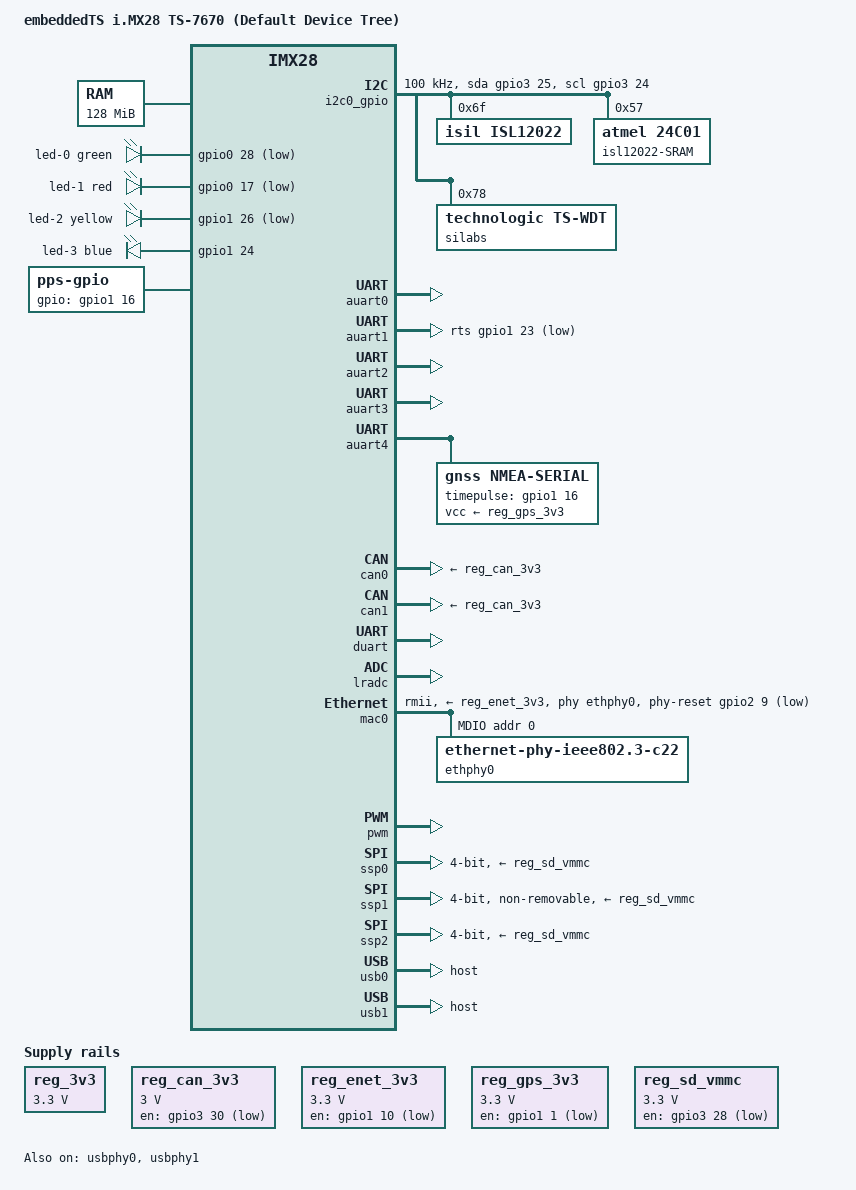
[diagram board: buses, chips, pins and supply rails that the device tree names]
// SPDX-License-Identifier: GPL-2.0 OR X11
/*
 * Copyright (C) 2019-2023 Technologic Systems, Inc. dba embeddedTS <support@embeddedTS.com>
 */

/dts-v1/;
#include <dt-bindings/input/input.h>
#include <dt-bindings/leds/common.h>
#include "imx28.dtsi"

/ {

	model = "embeddedTS i.MX28 TS-7670 (Default Device Tree)";
	compatible = "fsl,imx28-ts7670", "fsl,imx28";

	aliases {
		i2c0 = &i2c0_gpio;
	};

	i2c0_gpio: i2c {
		compatible = "i2c-gpio";
		pinctrl-names = "default";
		pinctrl-0 = <&i2c0_pins_gpio>;
		#address-cells = <1>;
		#size-cells = <0>;
		scl-gpios = <&gpio3 24 (GPIO_ACTIVE_HIGH | GPIO_OPEN_DRAIN)>;
		sda-gpios = <&gpio3 25 (GPIO_ACTIVE_HIGH | GPIO_OPEN_DRAIN)>;
		clock-frequency = <100000>;

		isl12022: rtc@6f {
			compatible = "isil,isl12022";
			btse-minutes = <1>;
			vb75t = <2>; /* 2.25 V */
			vb85t = <2>; /* 2.55 V */
			reg = <0x6f>;
		};

		isl12022_sram: eeprom@57 {
			compatible = "atmel,24c01";
			reg = <0x57>;
			label = "isl12022-SRAM";
			pagesize = <128>;
			size = <128>;
			address-width = <8>;
		};

		silabs: watchdog@78 {
			compatible = "technologic,ts-wdt";
			timeout-sec = <500>;
			enable-early;
			reg = <0x78>;
		};
	};

	memory {
		reg = <0x40000000 0x08000000>;   /* 128MB */
	};

	led-controller {
		pinctrl-names = "default";
		pinctrl-0 = <&pinctrl_gpio_leds>;
		compatible = "gpio-leds";

		led-0 {
			color = <LED_COLOR_ID_GREEN>;
			function = LED_FUNCTION_POWER;
			gpios = <&gpio0 28 GPIO_ACTIVE_LOW>;
			default-state = "on";
		};

		led-1 {
			color = <LED_COLOR_ID_RED>;
			function = LED_FUNCTION_INDICATOR;
			gpios = <&gpio0 17 GPIO_ACTIVE_LOW>;
			default-state = "off";
		};

		led-2 {
			color = <LED_COLOR_ID_YELLOW>;
			function = LED_FUNCTION_INDICATOR;
			gpios = <&gpio1 26 GPIO_ACTIVE_LOW>;
			default-state = "off";
		};

		led-3 {
			color = <LED_COLOR_ID_BLUE>;
			function = LED_FUNCTION_INDICATOR;
			gpios = <&gpio1 24 GPIO_ACTIVE_HIGH>;
			default-state = "off";
		};
	};

	pps {
		compatible = "pps-gpio";
		pinctrl-names = "default";
		pinctrl-0 = <&pinctrl_gps_pps>;
		gpios = <&gpio1 16 GPIO_ACTIVE_HIGH>;
	};

	reg_3v3: regulator-3v3 {
		compatible = "regulator-fixed";
		regulator-name = "3V3";
		regulator-min-microvolt = <3300000>;
		regulator-max-microvolt = <3300000>;
		regulator-always-on;
	};

	reg_can_3v3: regulator-can-en {
		pinctrl-names = "default";
		pinctrl-0 = <&pinctrl_flexcan_3v3>;
		compatible = "regulator-fixed";
		regulator-name = "CAN_EN";
		regulator-min-microvolt = <3000000>;
		regulator-max-microvolt = <3000000>;
		gpio = <&gpio3 30 GPIO_ACTIVE_LOW>;
	};

	reg_enet_3v3: regulator-enet-3v3 {
		pinctrl-names = "default";
		pinctrl-0 = <&mac0_pwr_ctrl>;
		compatible = "regulator-fixed";
		regulator-name = "ENET_3V3";
		regulator-min-microvolt = <3300000>;
		regulator-max-microvolt = <3300000>;
		gpio = <&gpio1 10 GPIO_ACTIVE_LOW>;
	};

	reg_gps_3v3: regulator-gps-3v3 {
		pinctrl-names = "default";
		pinctrl-0 = <&pinctrl_gps_3v3>;
		compatible = "regulator-fixed";
		regulator-name = "GPS_3V3";
		regulator-min-microvolt = <3300000>;
		regulator-max-microvolt = <3300000>;
		gpio = <&gpio1 1 GPIO_ACTIVE_LOW>;
	};

	reg_sd_vmmc: regulator-sd-vmmc {
		compatible = "regulator-fixed";
		pinctrl-names = "default";
		pinctrl-0 = <&sd_pwr_ctrl>;
		regulator-name = "SD_VMMC";
		regulator-min-microvolt = <3300000>;
		regulator-max-microvolt = <3300000>;
		regulator-boot-on;
		gpio = <&gpio3 28 GPIO_ACTIVE_LOW>;
	};
};

&auart0 {
	pinctrl-names = "default";
	pinctrl-0 = <&auart0_pins_a>;
	status = "okay";
};

&auart1 {
	pinctrl-names = "default";
	pinctrl-0 = <&auart1_2pins_gpio_rtscts>;
	rts-gpios = <&gpio1 23 GPIO_ACTIVE_LOW>;
	cts-gpios = <&gpio1 22 GPIO_ACTIVE_LOW>;
	status = "okay";
};

&auart2 {
	pinctrl-names = "default";
	pinctrl-0 = <&auart2_2pins_a>;
	status = "okay";
};

&auart3 {
	pinctrl-names = "default";
	pinctrl-0 = <&auart3_2pins_a>;
	status = "okay";
};

&auart4 {
	pinctrl-names = "default";
	pinctrl-0 = <&auart4_2pins>;
	status = "okay";

	gnss {
		compatible = "gnss,nmea-serial";
		current-speed = <9600>;
		vcc-supply = <&reg_gps_3v3>;
		timepulse-gpios = <&gpio1 16 GPIO_ACTIVE_HIGH>;
	};
};

&can0 {
	pinctrl-names = "default";
	pinctrl-0 = <&can0_pins_a>;
	xceiver-supply = <&reg_can_3v3>;
	status = "okay";
};

&can1 {
	pinctrl-names = "default";
	pinctrl-0 = <&can1_pins_a>;
	xceiver-supply = <&reg_can_3v3>;
	status = "okay";
};

&duart {
	pinctrl-names = "default";
	pinctrl-0 = <&duart_pins_a>;
	status = "okay";
};

&gpio0 {
	gpio-line-names = "", "", "", "", "", "HD2_8", "HD2_6", "STRAP_1";
};

&gpio1 {
	gpio-line-names = "", "", "", "", "", "", "", "DC_DIO_4", "DC_DIO_5",
		"DC_DIO_6", "", "STRAP_4", "", "EN_MODBUS_24V", "MODBUS_FAULT",
		"EN_MODBUS_3V#", "", "", "HD2_7", "STRAP_3", "PUSH_SW#",
		"STRAP_2", "", "", "", "EN_232_TRANS", "", "EN_HOST_USB_5V";
};

&lradc {
	status = "okay";
};

&mac0 {
	phy-mode = "rmii";
	pinctrl-names = "default";
	pinctrl-0 = <&mac0_pins>;
	phy-supply = <&reg_enet_3v3>;
	phy-handle = <&ethphy0>;
	phy-reset-gpios = <&gpio2 9 GPIO_ACTIVE_LOW>;
	phy-reset-duration = <100>;
	phy-reset-post-delay = <1>;
	status = "okay";

	mdio {
		#address-cells = <1>;
		#size-cells = <0>;

		ethphy0: ethernet-phy@0 {
			compatible = "ethernet-phy-ieee802.3-c22";
			/* magic number "64" is enet out from CPU */
			clocks = <&clks 64>;
			clock-names = "rmii-ref";
			reg = <0>;
		};
	};
};

&pinctrl {
	pinctrl-names = "default";
	pinctrl-0 = <&pinctrl_hog &pinctrl_hog_keeperonly>;

	pinctrl_hog: hog-pins@0 {
		reg = <0>;
		fsl,pinmux-ids = <
			/* Option strap 1 */
			MX28_PAD_GPMI_D07__GPIO_0_7
			/* HD2 pin 4,6,8 */
			MX28_PAD_GPMI_CE0N__GPIO_0_16
			MX28_PAD_GPMI_D06__GPIO_0_6
			MX28_PAD_GPMI_D05__GPIO_0_5
		>;
		fsl,drive-strength = <MXS_DRIVE_4mA>;
		fsl,voltage = <MXS_VOLTAGE_HIGH>;
		fsl,pull-up = <MXS_PULL_ENABLE>;
	};

	/*
	 * Pins that should be hogged, but only have an internal keeper, no
	 * pullup internally. Setting PULL_ENABLE on these will disable the
	 * internal keeper and then the pin, if an input, will be left floating.
	 */
	pinctrl_hog_keeperonly: hog-pins@1 {
		reg = <0>;
		fsl,pinmux-ids = <
			/* Push switch */
			MX28_PAD_LCD_D20__GPIO_1_20
			/* Boot strapping */
			MX28_PAD_LCD_D00__GPIO_1_0
			MX28_PAD_LCD_D02__GPIO_1_2
			MX28_PAD_LCD_D03__GPIO_1_3
			MX28_PAD_LCD_D04__GPIO_1_4
			MX28_PAD_LCD_D05__GPIO_1_5
			MX28_PAD_LCD_D06__GPIO_1_6
			/* DC DIO 4-6 */
			MX28_PAD_LCD_D07__GPIO_1_7
			MX28_PAD_LCD_D08__GPIO_1_8
			MX28_PAD_LCD_D09__GPIO_1_9
			/* Option strap 2-4 */
			MX28_PAD_LCD_D21__GPIO_1_21
			MX28_PAD_LCD_D19__GPIO_1_19
			MX28_PAD_LCD_D11__GPIO_1_11
			/* EN MODBUS 24 V */
			MX28_PAD_LCD_D13__GPIO_1_13
			/* MODBUS FAULT */
			MX28_PAD_LCD_D14__GPIO_1_14
			/* EN MODBUS 3V# */
			MX28_PAD_LCD_D15__GPIO_1_15
			/* HD2 pin 7 */
			MX28_PAD_LCD_D18__GPIO_1_18
			/* EN 232 transceiver */
			MX28_PAD_LCD_WR_RWN__GPIO_1_25
			/* USB 5V EN */
			MX28_PAD_LCD_CS__GPIO_1_27
		>;
		fsl,drive-strength = <MXS_DRIVE_4mA>;
		fsl,voltage = <MXS_VOLTAGE_HIGH>;
		/* This pin uses PULL_DISABLE == 0 == Enable Keeper */
		fsl,pull-up = <MXS_PULL_DISABLE>;
	};

	i2c0_pins_gpio: i2c-gpio-pins@0 {
		reg = <0>;
		fsl,pinmux-ids = <
			MX28_PAD_I2C0_SCL__GPIO_3_24
			MX28_PAD_I2C0_SDA__GPIO_3_25
		>;
		fsl,drive-strength = <MXS_DRIVE_8mA>;
		fsl,voltage = <MXS_VOLTAGE_HIGH>;
		/* This pin uses PULL_DISABLE == 0 == Enable Keeper */
		fsl,pull-up = <MXS_PULL_DISABLE>;
	};

	mmc0_4bit_pins: mmc0-4bit-pins@0 {
		reg = <0>;
		fsl,pinmux-ids = <
			MX28_PAD_SSP0_DATA0__SSP0_D0
			MX28_PAD_SSP0_DATA1__SSP0_D1
			MX28_PAD_SSP0_DATA2__SSP0_D2
			MX28_PAD_SSP0_DATA3__SSP0_D3
			MX28_PAD_SSP0_CMD__SSP0_CMD
			MX28_PAD_SSP0_SCK__SSP0_SCK
		>;
		fsl,drive-strength = <MXS_DRIVE_8mA>;
		fsl,voltage = <MXS_VOLTAGE_HIGH>;
		fsl,pull-up = <MXS_PULL_ENABLE>;
	};

	sd_pwr_ctrl: sd-pwr-ctrl@0 {
		reg = <0>;
		fsl,pinmux-ids = <
			MX28_PAD_PWM3__GPIO_3_28
		>;
		fsl,drive-strength = <MXS_DRIVE_8mA>;
		fsl,voltage = <MXS_VOLTAGE_HIGH>;
		/* This pin uses PULL_DISABLE == 0 == Enable Keeper */
		fsl,pull-up = <MXS_PULL_DISABLE>;
	};

	mmc1_4bit_pins: mmc1-4bit-pins@0 {
		reg = <0>;
		fsl,pinmux-ids = <
			MX28_PAD_GPMI_D00__SSP1_D0
			MX28_PAD_GPMI_D01__SSP1_D1
			MX28_PAD_GPMI_D02__SSP1_D2
			MX28_PAD_GPMI_D03__SSP1_D3
			MX28_PAD_GPMI_RDY1__SSP1_CMD
			MX28_PAD_GPMI_WRN__SSP1_SCK
		>;
		fsl,drive-strength = <MXS_DRIVE_8mA>;
		fsl,voltage = <MXS_VOLTAGE_HIGH>;
		fsl,pull-up = <MXS_PULL_ENABLE>;
	};

	mmc2_4bit_pins: mmc2-4bit-pins@0 {
		reg = <0>;
		fsl,pinmux-ids = <
			MX28_PAD_SSP0_DATA4__SSP2_D0
			MX28_PAD_SSP2_SS1__SSP2_D1
			MX28_PAD_SSP2_SS2__SSP2_D2
			MX28_PAD_SSP0_DATA5__SSP2_D3
			MX28_PAD_SSP0_DATA6__SSP2_CMD
			MX28_PAD_SSP0_DATA7__SSP2_SCK
		>;
		fsl,drive-strength = <MXS_DRIVE_8mA>;
		fsl,voltage = <MXS_VOLTAGE_HIGH>;
		fsl,pull-up = <MXS_PULL_ENABLE>;
	};

	mac0_pins: mac0-pins@0 {
		reg = <0>;
		fsl,pinmux-ids = <
			MX28_PAD_ENET0_MDC__ENET0_MDC
			MX28_PAD_ENET0_MDIO__ENET0_MDIO
			MX28_PAD_ENET0_RX_EN__ENET0_RX_EN
			MX28_PAD_ENET0_RXD0__ENET0_RXD0
			MX28_PAD_ENET0_RXD1__ENET0_RXD1
			MX28_PAD_ENET0_TX_EN__ENET0_TX_EN
			MX28_PAD_ENET0_TXD0__ENET0_TXD0
			MX28_PAD_ENET0_TXD1__ENET0_TXD1
			MX28_PAD_ENET_CLK__CLKCTRL_ENET
			/* PHY reset */
			MX28_PAD_SSP0_DETECT__GPIO_2_9
		>;
		fsl,drive-strength = <MXS_DRIVE_8mA>;
		fsl,voltage = <MXS_VOLTAGE_HIGH>;
		fsl,pull-up = <MXS_PULL_ENABLE>;
	};

	mac0_pwr_ctrl: mac0-pwr-ctrl@0 {
		reg = <0>;
		fsl,pinmux-ids = <
			MX28_PAD_LCD_D10__GPIO_1_10
		>;
		fsl,drive-strength = <MXS_DRIVE_8mA>;
		fsl,voltage = <MXS_VOLTAGE_HIGH>;
		/* This pin uses PULL_DISABLE == 0 == Enable Keeper */
		fsl,pull-up = <MXS_PULL_DISABLE>;
	};

	auart4_2pins: auart4-2pins@0 {
		reg = <0>;
		fsl,pinmux-ids = <
			MX28_PAD_SAIF0_BITCLK__AUART4_RX
			MX28_PAD_SAIF0_SDATA0__AUART4_TX
		>;
		fsl,drive-strength = <MXS_DRIVE_4mA>;
		fsl,voltage = <MXS_VOLTAGE_HIGH>;
		fsl,pull-up = <MXS_PULL_DISABLE>;
	};

	auart1_2pins_gpio_rtscts: auart1-pins@0 {
		reg = <0>;
		fsl,pinmux-ids = <
			MX28_PAD_AUART1_RX__AUART1_RX
			MX28_PAD_AUART1_TX__AUART1_TX
			/* AUART1 RTS GPIO */
			MX28_PAD_LCD_D23__GPIO_1_23
			/* AUART1 CTS GPIO */
			MX28_PAD_LCD_D22__GPIO_1_22
		>;
		fsl,drive-strength = <MXS_DRIVE_4mA>;
		fsl,voltage = <MXS_VOLTAGE_HIGH>;
		fsl,pull-up = <MXS_PULL_DISABLE>;
	};

	pinctrl_flexcan_3v3: can-en-pins@0 {
		reg = <0>;
		fsl,pinmux-ids = <
			MX28_PAD_LCD_RESET__GPIO_3_30
		>;
		fsl,drive-strength = <MXS_DRIVE_4mA>;
		fsl,voltage = <MXS_VOLTAGE_HIGH>;
		/* This pin uses PULL_DISABLE == 0 == Enable Keeper */
		fsl,pull-up = <MXS_PULL_DISABLE>;
	};

	pinctrl_gpio_leds: led-pins@0 {
		reg = <0>;
		fsl,pinmux-ids = <
			/* Red LED */
			MX28_PAD_GPMI_CE1N__GPIO_0_17
			/* Green LED */
			MX28_PAD_GPMI_RESETN__GPIO_0_28
			/* Yellow LED */
			MX28_PAD_LCD_RS__GPIO_1_26
			/* Blue LED */
			MX28_PAD_LCD_RD_E__GPIO_1_24
		>;
		fsl,drive-strength = <MXS_DRIVE_12mA>;
		fsl,voltage = <MXS_VOLTAGE_HIGH>;
		fsl,pull-up = <MXS_PULL_DISABLE>;
	};

	pinctrl_gps_3v3: gps-pwr-ctrl@0 {
		reg = <0>;
		fsl,pinmux-ids = <
			MX28_PAD_LCD_D01__GPIO_1_1
		>;
		fsl,drive-strength = <MXS_DRIVE_8mA>;
		fsl,voltage = <MXS_VOLTAGE_HIGH>;
		/* This pin uses PULL_DISABLE == 0 == Enable Keeper */
		fsl,pull-up = <MXS_PULL_DISABLE>;
	};

	pinctrl_gps_pps: gps-pps-pins@0 {
		reg = <0>;
		fsl,pinmux-ids = <
			MX28_PAD_LCD_D16__GPIO_1_16
		>;
		fsl,drive-strength = <MXS_DRIVE_4mA>;
		fsl,voltage = <MXS_VOLTAGE_HIGH>;
		/* This pin uses PULL_DISABLE == 0 == Enable Keeper */
		fsl,pull-up = <MXS_PULL_DISABLE>;
	};

};


&pwm {
	pinctrl-names = "default";
	pinctrl-0 = <&pwm2_pins_a>;
	status = "okay";
};

/* SD 0 */
&ssp0 {
	compatible = "fsl,imx28-mmc";
	pinctrl-names = "default";
	pinctrl-0 = <&mmc0_4bit_pins>;
	vmmc-supply = <&reg_sd_vmmc>;
	bus-width = <4>;
	broken-cd;
	disable-wp;
	status = "okay";
};

/* eMMC */
&ssp1 {
	compatible = "fsl,imx28-mmc";
	pinctrl-names = "default";
	pinctrl-0 = <&mmc1_4bit_pins>;
	vmmc-supply = <&reg_sd_vmmc>;
	bus-width = <4>;
	broken-cd;
	disable-wp;
	non-removable;
	status = "okay";
};

/* SD 1 */
&ssp2 {
	compatible = "fsl,imx28-mmc";
	pinctrl-names = "default";
	pinctrl-0 = <&mmc2_4bit_pins>;
	vmmc-supply = <&reg_sd_vmmc>;
	bus-width = <4>;
	broken-cd;
	disable-wp;
	status = "okay";
};

&usb0 {
	disable-over-current;
	dr_mode = "host";
	status = "okay";
};

&usb1 {
	disable-over-current;
	dr_mode = "host";
	status = "okay";
};

&usbphy0 {
	status = "okay";

};

&usbphy1 {
	status = "okay";
};
